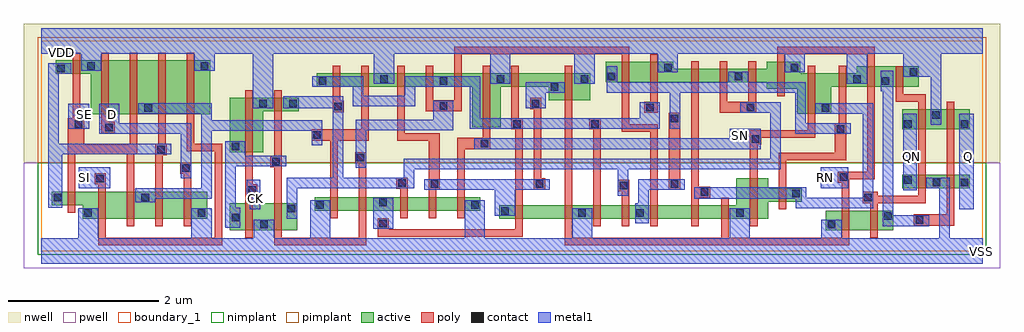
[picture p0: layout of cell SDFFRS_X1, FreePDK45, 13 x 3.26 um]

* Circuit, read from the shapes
.subckt SDFFRS_X1 CK D Q QN RN SE SI SN VDD VSS
M1 VSS SE n1 VSUBS nfet w=0.18u l=0.1u
M2 n2 SI VSS VSUBS nfet w=0.36u l=0.1u
M3 n3 SE n2 VSUBS nfet w=0.36u l=0.1u
M4 n4 n1 n3 VSUBS nfet w=0.36u l=0.1u
M5 VSS D n4 VSUBS nfet w=0.36u l=0.1u
M6 VSS CK n5 VSUBS nfet w=0.36u l=0.1u
M7 n6 n5 VSS VSUBS nfet w=0.36u l=0.1u
M8 n7 n3 VSS VSUBS nfet w=0.18u l=0.1u
M9 n8 n5 n7 VSUBS nfet w=0.18u l=0.1u
M10 n9 n6 n8 VSUBS nfet w=0.18u l=0.1u
M11 n10 n11 n9 VSUBS nfet w=0.18u l=0.1u
M12 VSS SN n10 VSUBS nfet w=0.18u l=0.1u
M13 n12 n8 n11 VSUBS nfet w=0.18u l=0.1u
M14 VSS RN n12 VSUBS nfet w=0.18u l=0.1u
M15 n13 n8 VSS VSUBS nfet w=0.18u l=0.1u
M16 n14 n6 n13 VSUBS nfet w=0.18u l=0.1u
M17 n15 n5 n14 VSUBS nfet w=0.18u l=0.1u
M18 n16 n17 n15 VSUBS nfet w=0.18u l=0.1u
M19 VSS RN n16 VSUBS nfet w=0.18u l=0.1u
M20 n18 SN VSS VSUBS nfet w=0.54u l=0.1u
M21 n17 n14 n18 VSUBS nfet w=0.18u l=0.1u
M22 n19 RN VSS VSUBS nfet w=0.26u l=0.1u
M23 n20 n17 n19 VSUBS nfet w=0.26u l=0.1u
M24 VSS n17 QN VSUBS nfet w=0.18u l=0.1u
M25 Q n20 VSS VSUBS nfet w=0.18u l=0.1u
M26 VDD SE n1 n21 pfet w=0.18u l=0.1u
M27 n22 D VDD n21 pfet w=0.72u l=0.1u
M28 n3 SE n22 n21 pfet w=0.72u l=0.1u
M29 n23 n1 n3 n21 pfet w=0.72u l=0.1u
M30 VDD SI n23 n21 pfet w=0.72u l=0.1u
M31 VDD CK n5 n21 pfet w=0.72u l=0.1u
M32 n6 n5 VDD n21 pfet w=0.18u l=0.1u
M33 n24 n6 n8 n21 pfet w=0.18u l=0.1u
M34 VDD n3 n24 n21 pfet w=0.18u l=0.1u
M35 n25 n11 VDD n21 pfet w=0.18u l=0.1u
M36 n8 n5 n25 n21 pfet w=0.18u l=0.1u
M37 n26 n5 n8 n21 pfet w=0.18u l=0.1u
M38 VDD SN n26 n21 pfet w=0.72u l=0.1u
M39 n11 n8 VDD n21 pfet w=0.18u l=0.1u
M40 VDD RN n11 n21 pfet w=0.36u l=0.1u
M41 n27 n5 n14 n21 pfet w=0.27u l=0.1u
M42 VDD n8 n27 n21 pfet w=0.27u l=0.1u
M43 n28 n17 VDD n21 pfet w=0.18u l=0.1u
M44 n14 n6 n28 n21 pfet w=0.18u l=0.1u
M45 n29 n6 n14 n21 pfet w=0.18u l=0.1u
M46 VDD RN n29 n21 pfet w=0.36u l=0.1u
M47 n17 SN VDD n21 pfet w=0.54u l=0.1u
M48 VDD n14 n17 n21 pfet w=0.18u l=0.1u
M49 n20 RN VDD n21 pfet w=0.27u l=0.1u
M50 VDD n17 n20 n21 pfet w=0.27u l=0.1u
M51 VDD n17 QN n21 pfet w=0.27u l=0.1u
M52 Q n20 VDD n21 pfet w=0.27u l=0.1u
.ends

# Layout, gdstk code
import gdstk
lib = gdstk.Library(unit=1e-6, precision=1e-09)
def R(c, l, rs):  # rectangles x0, y0, x1, y1
    for r in rs: c.add(gdstk.rectangle(r[:2], r[2:], *l))
def P(c, l, *ps):  # polygons
    for p in ps: c.add(gdstk.Polygon(p, *l))
active = (1, 0)
pwell = (2, 0)
nwell = (3, 0)
nimplant = (4, 0)
pimplant = (5, 0)
poly = (9, 0)
contact = (10, 0)
metal1 = (11, 0)
boundary_1 = (235, 1)

sdffrs_x1 = lib.new_cell('SDFFRS_X1')
R(sdffrs_x1, active, [(2.51,0.28,3.41,0.64), (10.45,0.28,11.35,0.54), (3.64,0.54,5.85,0.72), (11.47,0.84,12.37,1.02), (11.47,1.62,12.37,1.89)])
P(sdffrs_x1, active, [(7.52,2.25),(9.66,2.25),(9.66,2.16),(10.07,2.16),(10.07,1.83),(10.52,1.83),(10.52,2.19),(11.69,2.19),(11.69,2.46),(10.86,2.46),(10.86,2.37),(10.11,2.37),(10.11,2.52),(9.66,2.52),(9.66,2.43),(8.42,2.43),(8.42,2.52),(7.52,2.52)],
  [(6.1,0.43),(9.68,0.43),(9.68,0.66),(10.13,0.66),(10.13,0.84),(9.68,0.84),(9.68,0.97),(9.26,0.97),(9.26,0.61),(6.1,0.61)],
  [(3.67,2.19),(5.74,2.19),(5.74,1.65),(6.12,1.65),(6.12,2.19),(6.76,2.19),(6.76,2.01),(7.31,2.01),(7.31,2.37),(3.67,2.37)],
  [(2.51,1.32),(2.96,1.32),(2.96,1.86),(3.43,1.86),(3.43,2.04),(2.51,2.04)],
  [(0.19,2.36),(0.66,2.36),(0.66,1.82),(2.25,1.82),(2.25,2.54),(0.19,2.54)],
  [(0.14,0.61),(0.55,0.61),(0.55,0.43),(2.21,0.43),(2.21,0.79),(0.14,0.79)])
R(sdffrs_x1, pwell, [(-0.23,-0.23,12.77,1.18)])
R(sdffrs_x1, nwell, [(-0.23,1.18,12.77,3.03)])
R(sdffrs_x1, nimplant, [(-0.05,-0.05,12.59,1.18)])
R(sdffrs_x1, pimplant, [(-0.05,1.18,12.59,2.85)])
R(sdffrs_x1, poly, [(8.36,0.82,8.51,1.84)])
P(sdffrs_x1, poly, [(11.62,0.34),(12.16,0.34),(12.16,1.99),(12.06,1.99),(12.06,0.49),(11.62,0.49)],
  [(11.38,1.99),(11.68,1.99),(11.68,0.74),(11.14,0.74),(11.14,0.79),(10.94,0.79),(10.94,0.64),(11.04,0.64),(11.04,0.18),(11.14,0.18),(11.14,0.64),(11.78,0.64),(11.78,2.09),(11.48,2.09),(11.48,2.46),(11.38,2.46)],
  [(9.8,2.06),(9.9,2.06),(9.9,2.62),(11,2.62),(11,1.06),(10.61,1.06),(10.61,0.91),(10.66,0.91),(10.66,0.18),(9.16,0.18),(9.16,0.71),(9.06,0.71),(9.06,0.18),(7.07,0.18),(7.07,2.47),(6.97,2.47),(6.97,0.08),(10.76,0.08),(10.76,0.96),(11.1,0.96),(11.1,2.72),(9.8,2.72)],
  [(9.82,0.56),(9.92,0.56),(9.92,1.21),(10.72,1.21),(10.72,2.47),(10.62,2.47),(10.62,1.7),(10.57,1.7),(10.57,1.31),(9.82,1.31)],
  [(9.44,0.33),(9.54,0.33),(9.54,1.42),(9.59,1.42),(9.59,1.51),(10.31,1.51),(10.31,2.47),(10.21,2.47),(10.21,1.61),(9.44,1.61)],
  [(9.04,1.84),(9.52,1.84),(9.52,2.53),(9.42,2.53),(9.42,1.99),(9.14,1.99),(9.14,2.53),(9.04,2.53)],
  [(8.66,0.33),(8.76,0.33),(8.76,0.71),(8.91,0.71),(8.91,0.86),(8.76,0.86),(8.76,2.53),(8.66,2.53)],
  [(8.03,1.84),(8.21,1.84),(8.21,2.62),(8.11,2.62),(8.11,1.99),(8.03,1.99)],
  [(5.12,1.86),(5.6,1.86),(5.6,2.62),(7.73,2.62),(7.73,1.59),(8.11,1.59),(8.11,0.33),(8.21,0.33),(8.21,1.69),(7.83,1.69),(7.83,2.72),(5.5,2.72),(5.5,2.01),(5.22,2.01),(5.22,2.47),(5.12,2.47)],
  [(7.68,0.8),(7.73,0.8),(7.73,0.33),(7.83,0.33),(7.83,0.95),(7.68,0.95)],
  [(7.3,1.62),(7.35,1.62),(7.35,0.33),(7.45,0.33),(7.45,1.77),(7.3,1.77)],
  [(6.51,1.89),(6.56,1.89),(6.56,0.82),(6.71,0.82),(6.71,0.97),(6.66,0.97),(6.66,2.04),(6.51,2.04)],
  [(6.26,1.62),(6.31,1.62),(6.31,0.29),(4.63,0.29),(4.63,0.44),(4.48,0.44),(4.48,0.19),(6.41,0.19),(6.41,1.77),(6.36,1.77),(6.36,2.47),(6.26,2.47)],
  [(5.54,0.44),(5.64,0.44),(5.64,1.36),(5.98,1.36),(5.98,2.47),(5.88,2.47),(5.88,1.51),(5.54,1.51)],
  [(4.74,1.47),(5.16,1.47),(5.16,0.44),(5.26,0.44),(5.26,0.82),(5.31,0.82),(5.31,1.57),(4.84,1.57),(4.84,2.47),(4.74,2.47)],
  [(4.73,0.83),(4.78,0.83),(4.78,0.44),(4.88,0.44),(4.88,0.98),(4.73,0.98)],
  [(3.6,1.47),(3.85,1.47),(3.85,0.44),(3.95,0.44),(3.95,1.47),(4.36,1.47),(4.36,2.47),(4.26,2.47),(4.26,1.62),(3.6,1.62)],
  [(4.18,1.17),(4.23,1.17),(4.23,0.18),(3.2,0.18),(3.2,2.14),(3.1,2.14),(3.1,1.27),(3.05,1.27),(3.05,1.12),(3.1,1.12),(3.1,0.08),(4.33,0.08),(4.33,1.32),(4.18,1.32)],
  [(3.88,1.85),(4.03,1.85),(4.03,2),(3.98,2),(3.98,2.47),(3.88,2.47)],
  [(2.72,0.18),(2.82,0.18),(2.82,0.74),(2.88,0.74),(2.88,0.89),(2.82,0.89),(2.82,2.14),(2.72,2.14)],
  [(1.94,1.33),(2.31,1.33),(2.31,0.18),(0.86,0.18),(0.86,1.04),(0.71,1.04),(0.71,0.89),(0.76,0.89),(0.76,0.08),(2.41,0.08),(2.41,1.43),(2.04,1.43),(2.04,2.64),(1.94,2.64)],
  [(1.85,1.03),(1.9,1.03),(1.9,0.33),(2,0.33),(2,1.18),(1.85,1.18)],
  [(1.52,0.33),(1.62,0.33),(1.62,1.28),(1.67,1.28),(1.67,1.43),(1.66,1.43),(1.66,2.64),(1.56,2.64),(1.56,1.43),(1.52,1.43)],
  [(0.35,0.51),(0.45,0.51),(0.45,1.29),(1.14,1.29),(1.14,0.33),(1.24,0.33),(1.24,1.29),(1.28,1.29),(1.28,2.64),(1.18,2.64),(1.18,1.42),(0.57,1.42),(0.57,1.77),(0.52,1.77),(0.52,2.64),(0.42,2.64),(0.42,1.77),(0.35,1.77)],
  [(0.8,1.57),(0.98,1.57),(0.98,1.72),(0.9,1.72),(0.9,2.64),(0.8,2.64)])
R(sdffrs_x1, contact, [(2.915,0.305,3.015,0.405), (10.475,0.305,10.575,0.405), (4.505,0.315,4.605,0.415), (11.645,0.365,11.745,0.465), (2.535,0.395,2.635,0.495), (11.225,0.415,11.325,0.515), (0.575,0.455,0.675,0.555), (2.085,0.455,2.185,0.555), (7.155,0.455,7.255,0.555), (7.925,0.455,8.025,0.555), (9.255,0.455,9.355,0.555), (6.125,0.485,6.225,0.585), (3.285,0.515,3.385,0.615), (3.665,0.565,3.765,0.665), (5.725,0.565,5.825,0.665), (4.505,0.595,4.605,0.695), (0.165,0.665,0.265,0.765), (1.335,0.665,1.435,0.765), (10.965,0.665,11.065,0.765), (10.005,0.715,10.105,0.815), (8.785,0.735,8.885,0.835), (2.755,0.765,2.855,0.865), (7.705,0.825,7.805,0.925), (5.185,0.845,5.285,0.945), (6.585,0.845,6.685,0.945), (8.385,0.845,8.485,0.945), (4.755,0.855,4.855,0.955), (11.875,0.865,11.975,0.965), (12.245,0.865,12.345,0.965), (11.495,0.895,11.595,0.995), (0.735,0.915,0.835,1.015), (10.635,0.935,10.735,1.035), (1.875,1.055,1.975,1.155), (3.075,1.145,3.175,1.245), (4.205,1.195,4.305,1.295), (1.545,1.305,1.645,1.405), (2.535,1.345,2.635,1.445), (5.855,1.385,5.955,1.485), (9.465,1.445,9.565,1.545), (3.625,1.495,3.725,1.595), (10.595,1.575,10.695,1.675), (0.855,1.595,0.955,1.695), (0.445,1.645,0.545,1.745), (6.285,1.645,6.385,1.745), (7.325,1.645,7.425,1.745), (11.495,1.645,11.595,1.745), (12.245,1.645,12.345,1.745), (8.385,1.715,8.485,1.815), (11.865,1.765,11.965,1.865), (1.375,1.855,1.475,1.955), (10.395,1.855,10.495,1.955), (8.055,1.865,8.155,1.965), (9.395,1.865,9.495,1.965), (3.905,1.875,4.005,1.975), (5.305,1.885,5.405,1.985), (2.905,1.915,3.005,2.015), (3.305,1.915,3.405,2.015), (6.535,1.915,6.635,2.015), (6.785,2.135,6.885,2.235), (3.695,2.215,3.795,2.315), (5.305,2.215,5.405,2.315), (11.195,2.215,11.295,2.315), (4.515,2.245,4.615,2.345), (6.065,2.245,6.165,2.345), (7.185,2.245,7.285,2.345), (10.815,2.245,10.915,2.345), (7.545,2.275,7.645,2.375), (9.235,2.275,9.335,2.375), (11.565,2.335,11.665,2.435), (0.215,2.385,0.315,2.485), (8.295,2.395,8.395,2.495), (9.985,2.395,10.085,2.495), (0.615,2.415,0.715,2.515), (2.125,2.415,2.225,2.515)])
R(sdffrs_x1, metal1, [(4.42,0.3,4.69,0.71), (12.23,0.56,12.42,1.83), (12.23,0.56,12.42,1.83), (11.48,0.81,11.66,1.83), (11.48,0.81,11.66,1.83), (0.5,0.84,0.92,1.12), (0.5,0.84,0.92,1.12), (10.38,0.84,10.75,1.12), (10.38,0.84,10.75,1.12), (0.36,1.63,0.64,1.96), (0.36,1.63,0.64,1.96)])
P(sdffrs_x1, metal1, [(2.74,0.68),(2.78,0.68),(2.78,0.56),(2.92,0.56),(2.92,0.95),(2.74,0.95)],
  [(0.77,1.56),(1.86,1.56),(1.86,0.97),(2,0.97),(2,1.7),(1.04,1.7),(1.04,1.96),(0.77,1.96)],
  [(11.79,0.84),(11.96,0.84),(11.96,0.17),(10.66,0.17),(10.66,0.42),(10.39,0.42),(10.39,0.17),(9.44,0.17),(9.44,0.57),(9.17,0.57),(9.17,0.17),(7.34,0.17),(7.34,0.57),(7.07,0.57),(7.07,0.17),(5.91,0.17),(5.91,0.68),(5.64,0.68),(5.64,0.17),(3.85,0.17),(3.85,0.68),(3.58,0.68),(3.58,0.17),(3.1,0.17),(3.1,0.42),(2.83,0.42),(2.83,0.17),(2.27,0.17),(2.27,0.57),(2,0.57),(2,0.17),(0.76,0.17),(0.76,0.57),(0.49,0.57),(0.49,0.17),(0,0.17),(0,-0.17),(12.54,-0.17),(12.54,0.17),(12.1,0.17),(12.1,0.98),(11.79,0.98)],
  [(0,2.63),(0.53,2.63),(0.53,2.4),(0.8,2.4),(0.8,2.63),(2.04,2.63),(2.04,2.4),(2.31,2.4),(2.31,2.63),(2.82,2.63),(2.82,1.9),(3.09,1.9),(3.09,2.63),(4.43,2.63),(4.43,2.23),(4.7,2.23),(4.7,2.63),(5.98,2.63),(5.98,2.23),(6.25,2.23),(6.25,2.63),(7.1,2.63),(7.1,2.23),(7.37,2.23),(7.37,2.63),(8.21,2.63),(8.21,2.38),(8.48,2.38),(8.48,2.63),(9.9,2.63),(9.9,2.38),(10.17,2.38),(10.17,2.63),(10.73,2.63),(10.73,2.23),(11,2.23),(11,2.63),(11.48,2.63),(11.48,2.32),(11.85,2.32),(11.85,1.68),(11.99,1.68),(11.99,2.63),(12.54,2.63),(12.54,2.97),(0,2.97)],
  [(5.77,1.36),(9.58,1.36),(9.58,1.63),(9.17,1.63),(9.17,1.5),(5.77,1.5)],
  [(0,2.63),(0.53,2.63),(0.53,2.4),(0.8,2.4),(0.8,2.63),(2.04,2.63),(2.04,2.4),(2.31,2.4),(2.31,2.63),(2.82,2.63),(2.82,1.9),(3.09,1.9),(3.09,2.63),(4.43,2.63),(4.43,2.23),(4.7,2.23),(4.7,2.63),(5.98,2.63),(5.98,2.23),(6.25,2.23),(6.25,2.63),(7.1,2.63),(7.1,2.23),(7.37,2.23),(7.37,2.63),(8.21,2.63),(8.21,2.38),(8.48,2.38),(8.48,2.63),(9.9,2.63),(9.9,2.38),(10.17,2.38),(10.17,2.63),(10.73,2.63),(10.73,2.23),(11,2.23),(11,2.63),(11.48,2.63),(11.48,2.32),(11.85,2.32),(11.85,1.68),(11.99,1.68),(11.99,2.63),(12.54,2.63),(12.54,2.97),(0,2.97)],
  [(11.79,0.84),(11.96,0.84),(11.96,0.17),(10.66,0.17),(10.66,0.42),(10.39,0.42),(10.39,0.17),(9.44,0.17),(9.44,0.57),(9.17,0.57),(9.17,0.17),(7.34,0.17),(7.34,0.57),(7.07,0.57),(7.07,0.17),(5.91,0.17),(5.91,0.68),(5.64,0.68),(5.64,0.17),(3.85,0.17),(3.85,0.68),(3.58,0.68),(3.58,0.17),(3.1,0.17),(3.1,0.42),(2.83,0.42),(2.83,0.17),(2.27,0.17),(2.27,0.57),(2,0.57),(2,0.17),(0.76,0.17),(0.76,0.57),(0.49,0.57),(0.49,0.17),(0,0.17),(0,-0.17),(12.54,-0.17),(12.54,0.17),(12.1,0.17),(12.1,0.98),(11.79,0.98)],
  [(11.18,2.13),(11.21,2.13),(11.21,0.33),(11.83,0.33),(11.83,0.48),(11.35,0.48),(11.35,2.4),(11.18,2.4)],
  [(10.31,1.83),(10.94,1.83),(10.94,0.71),(10.19,0.71),(10.19,0.85),(8.7,0.85),(8.7,0.7),(10.05,0.7),(10.05,0.57),(11.08,0.57),(11.08,1.97),(10.31,1.97)],
  [(7.53,2.11),(8.37,2.11),(8.37,1.63),(8.51,1.63),(8.51,2.11),(10.04,2.11),(10.04,1.56),(10.78,1.56),(10.78,1.7),(10.18,1.7),(10.18,2.25),(9.42,2.25),(9.42,2.39),(9.15,2.39),(9.15,2.25),(7.67,2.25),(7.67,2.46),(7.53,2.46)],
  [(9.31,1.84),(9.71,1.84),(9.71,1.23),(4.83,1.23),(4.83,0.98),(4.02,0.98),(4.02,2.06),(3.22,2.06),(3.22,1.9),(3.88,1.9),(3.88,0.98),(3.27,0.98),(3.27,0.43),(3.41,0.43),(3.41,0.84),(4.97,0.84),(4.97,1.09),(7.68,1.09),(7.68,0.74),(7.82,0.74),(7.82,1.09),(9.85,1.09),(9.85,1.98),(9.31,1.98)],
  [(5.77,1.36),(9.58,1.36),(9.58,1.63),(9.17,1.63),(9.17,1.5),(5.77,1.5)],
  [(7.91,0.37),(8.09,0.37),(8.09,0.82),(8.57,0.82),(8.57,0.96),(7.95,0.96),(7.95,0.64),(7.91,0.64)],
  [(3.61,2.19),(4.15,2.19),(4.15,1.93),(4.98,1.93),(4.98,2.19),(5.71,2.19),(5.71,1.63),(8.24,1.63),(8.24,1.98),(7.97,1.98),(7.97,1.77),(5.85,1.77),(5.85,2.33),(4.84,2.33),(4.84,2.07),(4.29,2.07),(4.29,2.33),(3.61,2.33)],
  [(6.45,1.9),(6.72,1.9),(6.72,2.11),(6.97,2.11),(6.97,2.25),(6.45,2.25)],
  [(5.1,0.82),(6.04,0.82),(6.04,0.47),(6.31,0.47),(6.31,0.82),(6.77,0.82),(6.77,0.96),(5.1,0.96)],
  [(4.19,1.11),(4.33,1.11),(4.33,1.61),(5.49,1.61),(5.49,2),(5.22,2),(5.22,1.75),(4.19,1.75)],
  [(1.29,1.83),(2.13,1.83),(2.13,0.84),(1.25,0.84),(1.25,0.65),(1.52,0.65),(1.52,0.7),(2.27,0.7),(2.27,1.6),(3.6,1.6),(3.6,1.41),(3.74,1.41),(3.74,1.74),(2.27,1.74),(2.27,1.97),(1.29,1.97)],
  [(2.59,1.13),(3.26,1.13),(3.26,1.27),(2.72,1.27),(2.72,1.46),(2.45,1.46),(2.45,0.31),(2.65,0.31),(2.65,0.58),(2.59,0.58)],
  [(2.74,0.68),(2.78,0.68),(2.78,0.56),(2.92,0.56),(2.92,0.95),(2.74,0.95)],
  [(0.77,1.56),(1.86,1.56),(1.86,0.97),(2,0.97),(2,1.7),(1.04,1.7),(1.04,1.96),(0.77,1.96)],
  [(0.09,0.58),(0.28,0.58),(0.28,1.29),(1.73,1.29),(1.73,1.43),(0.23,1.43),(0.23,2.36),(0.4,2.36),(0.4,2.5),(0.09,2.5)])
R(sdffrs_x1, boundary_1, [(0,0,12.54,2.8)])
sdffrs_x1.add(gdstk.Label('VSS', (12.53,0), layer=11, texttype=0))
sdffrs_x1.add(gdstk.Label('VDD', (0.265,2.64), layer=11, texttype=0))
sdffrs_x1.add(gdstk.Label('SN', (9.31,1.54), layer=11, texttype=0))
sdffrs_x1.add(gdstk.Label('SI', (0.57,0.98), layer=11, texttype=0))
sdffrs_x1.add(gdstk.Label('SE', (0.57,1.82), layer=11, texttype=0))
sdffrs_x1.add(gdstk.Label('RN', (10.45,0.98), layer=11, texttype=0))
sdffrs_x1.add(gdstk.Label('QN', (11.59,1.26), layer=11, texttype=0))
sdffrs_x1.add(gdstk.Label('Q', (12.35,1.26), layer=11, texttype=0))
sdffrs_x1.add(gdstk.Label('D', (0.95,1.82), layer=11, texttype=0))
sdffrs_x1.add(gdstk.Label('CK', (2.85,0.7), layer=11, texttype=0))

lib.write_gds('SDFFRS_X1.gds')
